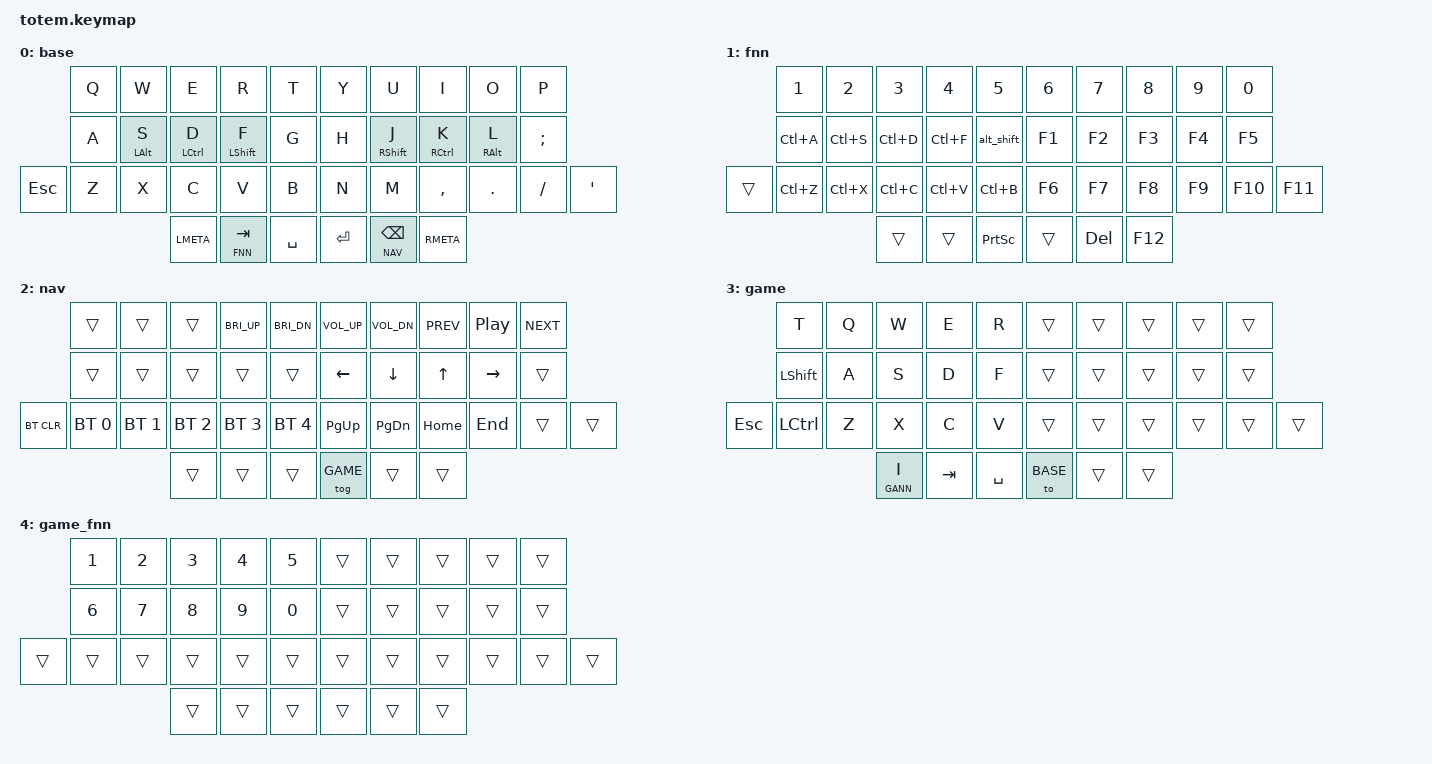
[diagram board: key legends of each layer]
//
//                                                        ▀▀▀▀▀     ▀▀▀▀▀          ▀▀█▀▀
//                                                        ▄▀▀▀▄  ▄  ▄▀▀▀▄  ▄  ▄▀▀▀▄  █  ▄▀▀▀▄
//                                                        █   █  █  █   █  █  █   █  █  █   █
//                                                         ▀▀▀   █   ▀▀▀   █   ▀▀▀   ▀   ▀▀▀
//                                                               █      ▄▄▄█▄▄▄    █   █  
//                                                               ▀      █  █  █     █▄█
//                                                             ▀▀▀▀▀    █  █  █      ▀
//                                                                      ▀  ▀  ▀
//
// ▄▄▄▄▄▄▄▄▄▄▄▄▄▄▄▄▄▄▄▄▄▄▄▄▄▄▄▄▄▄▄▄▄▄▄▄▄▄▄▄▄▄▄▄▄▄▄▄▄▄▄▄▄▄▄▄▄▄▄▄▄▄▄▄▄▄▄▄▄▄▄▄▄▄▄▄▄▄▄▄▄▄▄▄▄▄▄▄▄▄▄▄▄▄▄▄▄▄▄▄▄▄▄▄▄▄▄▄▄▄▄▄▄▄▄▄▄▄▄▄▄▄▄▄▄▄▄▄▄▄▄▄▄▄▄▄▄▄▄▄▄▄▄▄▄▄▄▄▄

#include <behaviors.dtsi>
#include <dt-bindings/zmk/keys.h>
#include <dt-bindings/zmk/bt.h>
#include <dt-bindings/zmk/outputs.h>

#define BASE 0
#define FNN  1
#define NAV  2
#define GAME 3
#define GANN 4

// Key-position groups for positional hold-tap (home-row mods).
// Positions follow the matrix transform: row0 0-9, row1 10-19,
// row2 20-31 (20 and 31 are the outer columns), thumbs 32-37.
#define KEYS_L 0 1 2 3 4 10 11 12 13 14 20 21 22 23 24 25   // left hand
#define KEYS_R 5 6 7 8 9 15 16 17 18 19 26 27 28 29 30 31   // right hand
#define THUMBS 32 33 34 35 36 37                             // all thumbs

/ {
    behaviors {
        // Positional home-row mods: a mod only triggers when a key on the
        // opposite hand (or a thumb) is pressed, which suppresses misfires
        // during same-hand rolls. require-prior-idle-ms suppresses the mod
        // immediately after typing for fast, reliable taps.
        hml: home_row_mod_left {
            compatible = "zmk,behavior-hold-tap";
            #binding-cells = <2>;
            flavor = "balanced";
            tapping-term-ms = <200>;
            quick-tap-ms = <175>;
            require-prior-idle-ms = <150>;
            bindings = <&kp>, <&kp>;
            hold-trigger-key-positions = <KEYS_R THUMBS>;
            hold-trigger-on-release;
        };

        hmr: home_row_mod_right {
            compatible = "zmk,behavior-hold-tap";
            #binding-cells = <2>;
            flavor = "balanced";
            tapping-term-ms = <200>;
            quick-tap-ms = <175>;
            require-prior-idle-ms = <150>;
            bindings = <&kp>, <&kp>;
            hold-trigger-key-positions = <KEYS_L THUMBS>;
            hold-trigger-on-release;
        };
    };

    macros {
        ZMK_MACRO(alt_shift,
            wait-ms = <10>;
            tap-ms = <10>;
            bindings
                = <&macro_press &kp LALT>
                , <&macro_press &kp LSHFT>
                , <&macro_release &kp LSHFT>
                , <&macro_release &kp LALT>
                ;
        )
    };

    combos {
        compatible = "zmk,combos";

        combo_term_copy {
            require-prior-idle-ms = <100>;
            timeout-ms = <40>;
            key-positions = <21 23>;
            bindings = <&kp LC(LS(C))>;
            layers = <0>;
        };

        combo_term_paste {
            require-prior-idle-ms = <100>;
            timeout-ms = <40>;
            key-positions = <21 24>;
            bindings = <&kp LC(LS(V))>;
            layers = <0>;
        };

        combo_parentheses_left {
            require-prior-idle-ms = <100>;
            timeout-ms = <40>;
            bindings = <&kp LEFT_PARENTHESIS>;
            key-positions = <13 12>;
            layers = <0>;
        };

        combo_parentheses_right {
            require-prior-idle-ms = <100>;
            timeout-ms = <40>;
            bindings = <&kp RIGHT_PARENTHESIS>;
            key-positions = <16 17>;
            layers = <0>;
        };

        combo_bracket_left {
            require-prior-idle-ms = <100>;
            timeout-ms = <40>;
            bindings = <&kp LEFT_BRACKET>;
            key-positions = <2 3>;
            layers = <0>;
        };

        combo_bracket_right {
            require-prior-idle-ms = <100>;
            timeout-ms = <40>;
            bindings = <&kp RIGHT_BRACKET>;
            key-positions = <7 6>;
            layers = <0>;
        };

        combo_brace_left {
            require-prior-idle-ms = <100>;
            timeout-ms = <40>;
            bindings = <&kp LEFT_BRACE>;
            key-positions = <23 24>;
            layers = <0>;
        };

        combo_brace_right {
            require-prior-idle-ms = <100>;
            timeout-ms = <40>;
            bindings = <&kp RIGHT_BRACE>;
            key-positions = <27 28>;
            layers = <0>;
        };

        combo_caret {
            require-prior-idle-ms = <100>;
            timeout-ms = <40>;
            bindings = <&kp CARET>;
            key-positions = <17 18>;
            layers = <0>;
        };

        combo_grave {
            require-prior-idle-ms = <100>;
            timeout-ms = <40>;
            bindings = <&kp GRAVE>;
            key-positions = <12 11>;
            layers = <0>;
        };

        combo_less_than {
            require-prior-idle-ms = <100>;
            timeout-ms = <40>;
            bindings = <&kp LESS_THAN>;
            key-positions = <1 2>;
            layers = <0>;
        };

        combo_bigger_than {
            require-prior-idle-ms = <100>;
            timeout-ms = <40>;
            bindings = <&kp GREATER_THAN>;
            key-positions = <7 8>;
            layers = <0>;
        };

        combo_hyphen {
            require-prior-idle-ms = <100>;
            timeout-ms = <40>;
            bindings = <&kp MINUS>;
            key-positions = <24 27>;
            layers = <0>;
        };

        combo_plus {
            require-prior-idle-ms = <100>;
            timeout-ms = <40>;
            bindings = <&kp PLUS>;
            key-positions = <3 6>;
            layers = <0>;
        };

        combo_equal {
            require-prior-idle-ms = <100>;
            timeout-ms = <40>;
            bindings = <&kp EQUAL>;
            key-positions = <13 16>;
            layers = <0>;
        };

        combo_pipe {
            require-prior-idle-ms = <100>;
            timeout-ms = <40>;
            bindings = <&kp PIPE>;
            key-positions = <23 22>;
            layers = <0>;
        };

        combo_astrsk {
            require-prior-idle-ms = <100>;
            timeout-ms = <40>;
            bindings = <&kp ASTERISK>;
            key-positions = <2 7>;
            layers = <0>;
        };

        combo_dollar {
            require-prior-idle-ms = <100>;
            timeout-ms = <40>;
            bindings = <&kp DOLLAR>;
            key-positions = <12 17>;
            layers = <0>;
        };

        combo_hash {
            require-prior-idle-ms = <100>;
            timeout-ms = <40>;
            bindings = <&kp HASH>;
            key-positions = <28 29>;
            layers = <0>;
        };

        combo_percent {
            require-prior-idle-ms = <100>;
            timeout-ms = <40>;
            bindings = <&kp PERCENT>;
            key-positions = <23 28>;
            layers = <0>;
        };

        combo_ampersand {
            require-prior-idle-ms = <100>;
            timeout-ms = <40>;
            bindings = <&kp AMPERSAND>;
            key-positions = <14 15>;
            layers = <0>;
        };

        combo_underscore {
            require-prior-idle-ms = <100>;
            timeout-ms = <40>;
            bindings = <&kp UNDERSCORE>;
            key-positions = <25 26>;
            layers = <0>;
        };

        combo_backslash {
            require-prior-idle-ms = <100>;
            timeout-ms = <40>;
            bindings = <&kp BACKSLASH>;
            key-positions = <18 19>;
            layers = <0>;
        };

        combo_tilde {
            require-prior-idle-ms = <100>;
            timeout-ms = <40>;
            bindings = <&kp TILDE>;
            key-positions = <11 10>;
            layers = <0>;
        };
    };

    keymap {
        compatible = "zmk,keymap";

        base {
            bindings = <
         &kp Q       &kp W       &kp E        &kp R         &kp T      &kp Y         &kp U         &kp I        &kp O       &kp P
         &kp A       &hml LALT S &hml LCTRL D &hml LSHIFT F &kp G      &kp H         &hmr RSHFT J  &hmr RCTRL K &hmr RALT L &kp SEMI
&kp ESC  &kp Z       &kp X       &kp C        &kp V         &kp B      &kp N         &kp M         &kp COMMA    &kp DOT     &kp FSLH  &kp SQT
                                 &kp LMETA    &lt FNN TAB   &kp SPACE  &kp ENTER     &lt NAV BSPC  &kp RMETA
            >;
        };

        fnn {
            bindings = <
        &kp N1     &kp N2     &kp N3     &kp N4     &kp N5      &kp N6  &kp N7   &kp N8   &kp N9  &kp N0
        &kp LC(A)  &kp LC(S)  &kp LC(D)  &kp LC(F)  &alt_shift  &kp F1  &kp F2   &kp F3   &kp F4  &kp F5
&trans  &kp LC(Z)  &kp LC(X)  &kp LC(C)  &kp LC(V)  &kp LC(B)   &kp F6  &kp F7   &kp F8   &kp F9  &kp F10  &kp F11
                              &trans     &trans     &kp PSCRN   &trans  &kp DEL  &kp F12
            >;
        };

        nav {
            bindings = <
            &trans        &trans        &trans        &kp C_BRI_UP   &kp C_BRI_DN  &kp C_VOL_UP  &kp C_VOL_DN  &kp C_PREV  &kp C_PP   &kp C_NEXT
            &trans        &trans        &trans        &trans         &trans        &kp LEFT      &kp DOWN      &kp UP      &kp RIGHT  &trans
&bt BT_CLR  &bt BT_SEL 0  &bt BT_SEL 1  &bt BT_SEL 2  &bt BT_SEL 3   &bt BT_SEL 4  &kp PG_UP     &kp PG_DN     &kp HOME    &kp END    &trans      &trans
                                        &trans        &trans         &trans        &tog GAME     &trans        &trans
            >;
        };

        game {
            bindings = <
          &kp T           &kp Q  &kp W       &kp E    &kp R      &trans    &trans  &trans  &trans  &trans
          &kp LEFT_SHIFT  &kp A  &kp S       &kp D    &kp F      &trans    &trans  &trans  &trans  &trans
&kp ESC   &kp LCTRL       &kp Z  &kp X       &kp C    &kp V      &trans    &trans  &trans  &trans  &trans  &trans
                                 &lt GANN I  &kp TAB  &kp SPACE  &to BASE  &trans  &trans
            >;
        };

        game_fnn {
            bindings = <
&kp N1  &kp N2  &kp N3  &kp N4  &kp N5  &trans  &trans  &trans  &trans  &trans
&kp N6  &kp N7  &kp N8  &kp N9  &kp N0  &trans  &trans  &trans  &trans  &trans
&trans  &trans  &trans  &trans  &trans  &trans  &trans  &trans  &trans  &trans  &trans  &trans
                &trans  &trans  &trans  &trans  &trans  &trans
            >;
        };
    };
};
